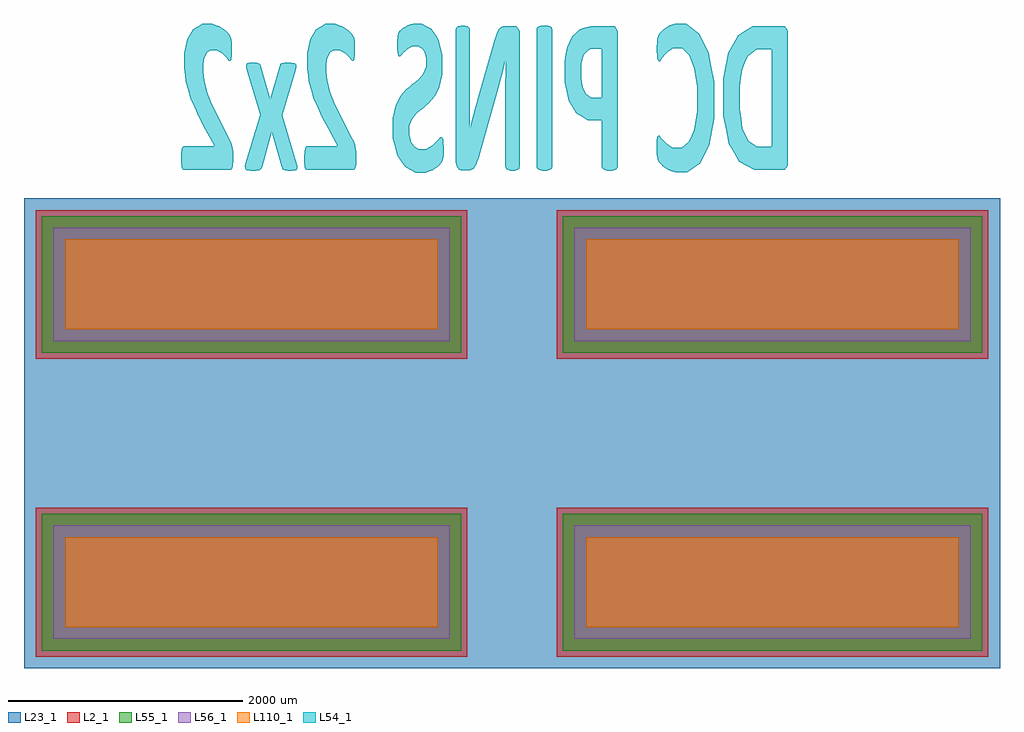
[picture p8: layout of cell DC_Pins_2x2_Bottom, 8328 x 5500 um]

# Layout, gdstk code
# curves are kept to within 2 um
import gdstk
lib = gdstk.Library(unit=1e-6, precision=1e-09)
def R(c, l, rs):  # rectangles x0, y0, x1, y1
    for r in rs: c.add(gdstk.rectangle(r[:2], r[2:], *l))
def P(c, l, *ps):  # polygons
    for p in ps: c.add(gdstk.Polygon(p, *l))
L2_1 = (2, 1)
L23_1 = (23, 1)
L54_1 = (54, 1)
L55_1 = (55, 1)
L56_1 = (56, 1)
L110_1 = (110, 1)

dc_pins_2x2_bottom = lib.new_cell('DC_Pins_2x2_Bottom')
R(dc_pins_2x2_bottom, L2_1, [(0,0,3683,1270), (4445,0,8128,1270), (0,2540,3683,3810), (4445,2540,8128,3810)])
R(dc_pins_2x2_bottom, L23_1, [(-100,-100,8228,3910)])
P(dc_pins_2x2_bottom, L54_1, [(3584.014,5341.239),(3589.125,5365.881),(3601.902,5377.254),(3625.412,5381.993),(3661.188,5381.993),(3684.698,5377.254),(3699.008,5365.881),(3705.142,5350.716),(3705.142,4700.552),(3702.075,4490.149),(3784.871,4801.963),(3923.375,5287.216),(3941.774,5337.448),(3962.728,5365.881),(3989.305,5378.201),(4101.232,5378.201),(4129.342,5333.657),(4129.342,4177.388),(4124.231,4162.224),(4110.943,4151.799),(4087.433,4146.112),(4051.146,4146.112),(4027.636,4151.799),(4013.837,4162.224),(4008.215,4177.388),(4008.215,4900.53),(4012.304,5104.299),(3955.573,4878.731),(3778.227,4257.948),(3757.783,4198.239),(3735.807,4163.172),(3709.741,4149.903),(3624.901,4149.903),(3605.991,4160.328),(3592.192,4183.075),(3584.014,4217.194)],
  [(5866.52,4928.963),(5910.474,5150.739),(5994.803,5301.433),(6117.974,5378.201),(6392.938,5378.201),(6415.937,5341.239),(6415.937,4188.761),(6392.938,4151.799),(6282.033,4151.799),(6282.033,5182.963),(6152.217,5182.963),(6076.065,5121.358),(6027.512,5011.418),(6005.536,4861.672),(6005.536,4668.328),(6030.579,4509.104),(6081.176,4402.007),(6156.817,4348.933),(6282.033,4348.933),(6282.033,4151.799),(6130.24,4151.799),(6002.98,4222.881),(5914.051,4374.522),(5866.52,4614.306)],
  [(5298.705,4371.679),(5304.838,4435.179),(5310.971,4442.761),(5322.726,4442.761),(5346.747,4412.433),(5384.056,4374.522),(5436.187,4343.246),(5511.316,4343.246),(5574.18,4393.478),(5618.644,4495.836),(5642.665,4654.112),(5642.665,4860.724),(5620.177,5018.052),(5576.735,5128.94),(5514.894,5188.649),(5439.764,5188.649),(5388.145,5155.478),(5350.836,5114.724),(5327.326,5081.552),(5315.06,5081.552),(5307.904,5092.925),(5302.794,5117.567),(5302.283,5248.358),(5310.46,5291.955),(5324.259,5317.545),(5359.013,5353.56),(5402.455,5381.045),(5453.564,5398.104),(5549.137,5398.104),(5662.086,5312.806),(5742.838,5147.896),(5787.813,4905.269),(5787.813,4595.351),(5746.927,4364.097),(5670.264,4209.612),(5560.892,4131.896),(5458.163,4131.896),(5398.367,4152.746),(5351.858,4184.022),(5319.659,4218.142),(5303.305,4257),(5298.705,4313.866)],
  [(3047.886,4593.455),(3072.418,4702.448),(3112.283,4783.007),(3163.391,4840.821),(3267.653,4927.067),(3308.028,4973.507),(3332.049,5033.216),(3332.049,5101.455),(3321.317,5150.739),(3299.34,5185.806),(3266.63,5205.709),(3216.544,5205.709),(3169.524,5180.119),(3133.748,5148.843),(3109.216,5122.306),(3097.972,5122.306),(3091.328,5133.679),(3086.217,5196.231),(3087.24,5281.53),(3093.373,5316.597),(3103.594,5335.552),(3135.282,5363.985),(3176.168,5386.731),(3223.188,5400),(3292.185,5400),(3373.447,5356.403),(3433.244,5268.261),(3468.509,5134.627),(3468.509,4969.716),(3443.977,4859.776),(3404.623,4779.216),(3354.537,4721.403),(3251.298,4635.157),(3211.944,4588.716),(3187.412,4529.007),(3187.412,4451.291),(3201.723,4392.53),(3228.81,4352.724),(3267.653,4330.925),(3329.494,4330.925),(3386.224,4362.201),(3427.111,4400.112),(3453.177,4431.388),(3465.443,4431.388),(3473.109,4420.963),(3477.709,4396.321),(3479.753,4356.515),(3479.753,4283.537),(3474.131,4237.097),(3460.843,4212.455),(3430.689,4180.231),(3385.713,4150.851),(3326.939,4130),(3242.098,4130),(3153.17,4179.284),(3086.729,4276.903),(3047.886,4422.858)],
  [(1241.991,4279.746),(1245.058,4318.604),(1251.191,4342.299),(1259.879,4353.672),(1525.643,4353.672),(1390.206,4607.672),(1319.676,4769.739),(1280.834,4903.373),(1268.568,5019),(1268.568,5146.948),(1293.611,5265.418),(1344.719,5351.664),(1421.893,5400),(1506.222,5400),(1566.53,5377.254),(1616.617,5344.082),(1650.859,5309.015),(1663.636,5286.269),(1668.747,5270.157),(1673.347,5218.978),(1673.347,5164.955),(1666.703,5093.873),(1660.059,5082.5),(1648.815,5082.5),(1625.305,5111.881),(1590.04,5146.948),(1543.531,5175.381),(1491.912,5175.381),(1460.225,5151.687),(1439.27,5109.985),(1428.537,5054.067),(1428.537,4988.672),(1437.226,4912.851),(1460.736,4822.813),(1502.645,4713.821),(1661.592,4400.112),(1674.369,4366.94),(1682.547,4331.873),(1685.613,4287.328),(1685.613,4222.881),(1681.013,4181.179),(1670.792,4159.381),(1654.437,4151.799),(1257.835,4151.799),(1249.657,4162.224),(1244.547,4186.866)],
  [(2291.991,4279.746),(2295.058,4318.604),(2301.191,4342.299),(2309.879,4353.672),(2575.643,4353.672),(2440.206,4607.672),(2369.676,4769.739),(2330.834,4903.373),(2318.568,5019),(2318.568,5146.948),(2343.611,5265.418),(2394.719,5351.664),(2471.893,5400),(2556.222,5400),(2616.53,5377.254),(2666.617,5344.082),(2700.859,5309.015),(2713.636,5286.269),(2718.747,5270.157),(2723.347,5218.978),(2723.347,5164.955),(2716.703,5093.873),(2710.059,5082.5),(2698.815,5082.5),(2675.305,5111.881),(2640.04,5146.948),(2593.531,5175.381),(2541.912,5175.381),(2510.225,5151.687),(2489.27,5109.985),(2478.537,5054.067),(2478.537,4988.672),(2487.226,4912.851),(2510.736,4822.813),(2552.645,4713.821),(2711.592,4400.112),(2724.369,4366.94),(2732.547,4331.873),(2735.613,4287.328),(2735.613,4222.881),(2731.013,4181.179),(2720.792,4159.381),(2704.437,4151.799),(2307.835,4151.799),(2299.657,4162.224),(2294.547,4186.866)],
  [(4512.656,5080.604),(4535.144,5200.97),(4578.075,5291.007),(4638.894,5349.769),(4698.18,5371.567),(4740.6,5378.201),(4940.434,5378.201),(4965.477,5333.657),(4965.477,4176.44),(4959.344,4161.276),(4944.012,4151.799),(4917.947,4146.112),(4878.593,4146.112),(4853.039,4151.799),(4837.706,4161.276),(4831.062,4176.44),(4831.062,5185.806),(4752.866,5185.806),(4713.512,5175.381),(4677.737,5135.575),(4653.204,5052.172),(4653.204,4940.336),(4667.515,4859.776),(4695.113,4801.963),(4738.556,4769.739),(4831.062,4769.739),(4831.062,4577.343),(4710.446,4577.343),(4613.851,4634.209),(4547.41,4743.201),(4512.656,4902.425)],
  [(4273.468,5344.082),(4273.468,5353.56),(4280.112,5368.724),(4295.445,5378.201),(4320.999,5383.888),(4360.353,5383.888),(4385.907,5378.201),(4401.751,5368.724),(4408.395,5353.56),(4408.395,4176.44),(4401.751,4161.276),(4386.418,4151.799),(4360.353,4146.112),(4320.999,4146.112),(4295.445,4151.799),(4280.112,4161.276),(4273.468,4176.44)],
  [(1914.81,4623.784),(1795.728,5026.582),(1795.216,5050.276),(1806.971,5063.545),(1834.059,5067.336),(1876.479,5067.336),(1899.478,5063.545),(1912.766,5055.963),(1918.899,5044.59),(2001.184,4754.575),(2085.002,5046.485),(2092.157,5058.806),(2107.489,5064.493),(2134.577,5067.336),(2182.108,5067.336),(2211.24,5061.649),(2224.528,5048.381),(2224.017,5024.687),(2219.417,5007.627),(2102.89,4617.149),(2233.727,4184.97),(2233.216,4164.119),(2220.95,4150.851),(2194.374,4146.112),(2150.421,4146.112),(2123.844,4148.955),(2109.023,4157.485),(2101.867,4169.806),(2015.494,4479.724),(1929.121,4169.806),(1921.454,4157.485),(1905.611,4148.955),(1829.97,4146.112),(1800.327,4150.851),(1786.017,4164.119),(1785.506,4184.97),(1789.594,4201.082)])
R(dc_pins_2x2_bottom, L55_1, [(50.8,50.8,3632.2,1219.2), (4495.8,50.8,8077.2,1219.2), (50.8,2590.8,3632.2,3759.2), (4495.8,2590.8,8077.2,3759.2)])
R(dc_pins_2x2_bottom, L56_1, [(150.8,150.8,3532.2,1119.2), (4595.8,150.8,7977.2,1119.2), (150.8,2690.8,3532.2,3659.2), (4595.8,2690.8,7977.2,3659.2)])
R(dc_pins_2x2_bottom, L110_1, [(250.8,250.8,3432.2,1019.2), (4695.8,250.8,7877.2,1019.2), (250.8,2790.8,3432.2,3559.2), (4695.8,2790.8,7877.2,3559.2)])

lib.write_gds('DC_Pins_2x2_Bottom.gds')
